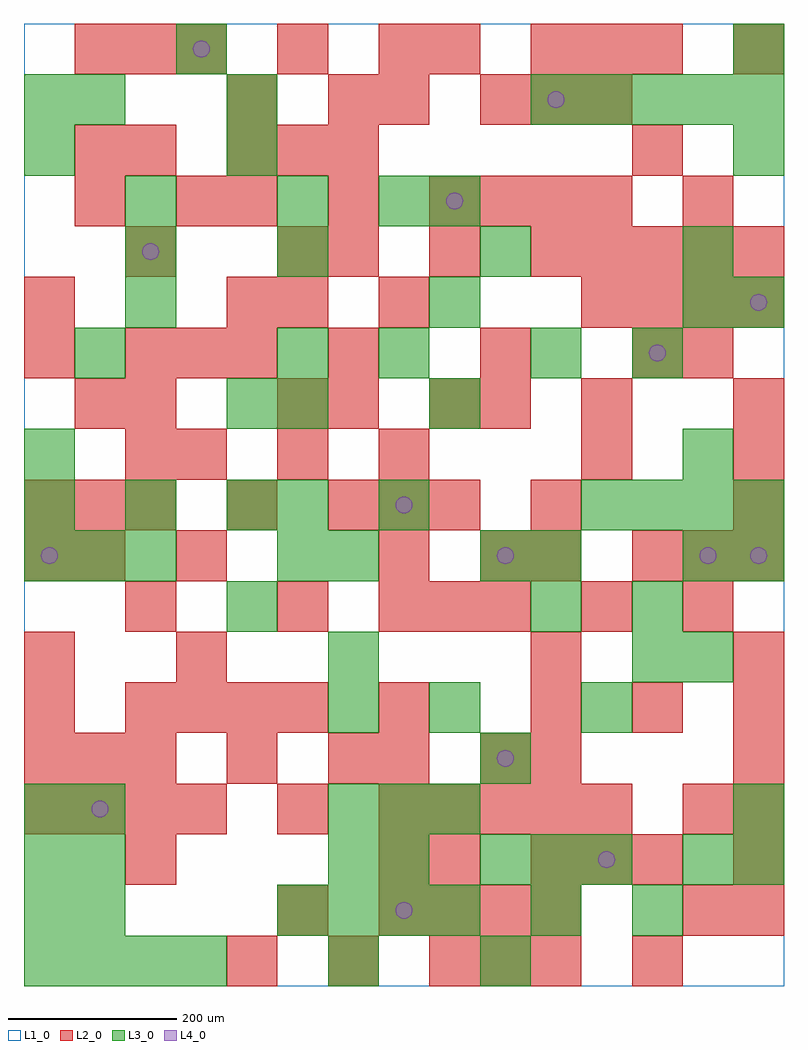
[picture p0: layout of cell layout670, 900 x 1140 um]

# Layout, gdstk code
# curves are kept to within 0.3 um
import gdstk
lib = gdstk.Library(unit=1e-6, precision=1e-09)
def R(c, l, rs):  # rectangles x0, y0, x1, y1
    for r in rs: c.add(gdstk.rectangle(r[:2], r[2:], *l))
def A(c, l, x, y, w, h, nx, ny, dx, dy):  # array of equal rectangles
    R(c, l, [(x+i*dx, y+j*dy, x+i*dx+w, y+j*dy+h) for i in range(nx) for j in range(ny)])
def P(c, l, *ps):  # polygons
    for p in ps: c.add(gdstk.Polygon(p, *l))
L1_0 = (1, 0)
L2_0 = (2, 0)
L3_0 = (3, 0)
L4_0 = (4, 0)

layout670 = lib.new_cell('layout670')
R(layout670, L1_0, [(0,0,900,1140)])
A(layout670, L2_0, 240, 0, 60, 60, 3, 2, 120, 900)
A(layout670, L2_0, 540, 0, 60, 60, 1, 3, 0, 240)
A(layout670, L2_0, 420, 60, 60, 60, 4, 1, 60, 0)
A(layout670, L2_0, 840, 60, 60, 60, 1, 4, 0, 60)
A(layout670, L2_0, 600, 120, 60, 60, 3, 2, 60, 960)
A(layout670, L2_0, 0, 180, 60, 60, 4, 1, 60, 0)
A(layout670, L2_0, 300, 180, 60, 60, 1, 3, 0, 240)
A(layout670, L2_0, 420, 180, 60, 60, 5, 1, 60, 0)
A(layout670, L2_0, 0, 240, 60, 60, 3, 2, 60, 300)
A(layout670, L2_0, 600, 240, 60, 60, 1, 3, 0, 120)
A(layout670, L2_0, 120, 300, 60, 60, 4, 1, 60, 0)
A(layout670, L2_0, 600, 300, 60, 60, 3, 1, 120, 0)
A(layout670, L2_0, 420, 420, 60, 60, 3, 1, 60, 0)
A(layout670, L2_0, 720, 480, 60, 60, 3, 1, 60, 0)
A(layout670, L2_0, 240, 540, 60, 60, 1, 3, 0, 240)
A(layout670, L2_0, 360, 540, 60, 60, 3, 1, 60, 0)
A(layout670, L2_0, 840, 540, 60, 60, 1, 3, 0, 60)
A(layout670, L2_0, 180, 600, 60, 60, 3, 1, 120, 0)
A(layout670, L2_0, 120, 720, 60, 60, 3, 1, 60, 0)
A(layout670, L2_0, 360, 720, 60, 60, 3, 1, 180, 0)
A(layout670, L2_0, 660, 780, 60, 60, 4, 2, 60, 60)
A(layout670, L2_0, 360, 840, 60, 60, 3, 1, 120, 0)
A(layout670, L2_0, 540, 900, 60, 60, 3, 2, 60, 120)
A(layout670, L2_0, 240, 960, 60, 60, 3, 1, 60, 0)
A(layout670, L2_0, 60, 1080, 60, 60, 3, 1, 60, 0)
R(layout670, L2_0, [(600,0,660,60), (720,0,780,60), (300,60,360,120), (780,60,840,120), (120,120,180,180), (420,120,480,180), (480,120,540,180), (780,180,840,240), (240,240,300,300), (360,240,420,300), (420,240,480,300), (0,300,60,360), (420,300,480,360), (0,360,60,420), (180,360,240,420), (840,360,900,420), (120,420,180,480), (660,420,720,480), (780,420,840,480), (0,480,60,540), (60,480,120,540), (180,480,240,540), (420,480,480,540), (600,540,660,600), (120,600,180,660), (660,600,720,660), (60,660,120,720), (120,660,180,720), (360,660,420,720), (480,660,540,720), (540,660,600,720), (660,660,720,720), (0,720,60,780), (780,720,840,780), (0,780,60,840), (300,780,360,840), (420,780,480,840), (120,840,180,900), (300,840,360,900), (60,900,120,960), (180,900,240,960), (780,900,840,960), (60,960,120,1020), (120,960,180,1020), (720,960,780,1020), (360,1020,420,1080), (420,1020,480,1080), (300,1080,360,1140), (420,1080,480,1140), (480,1080,540,1140), (840,1080,900,1140)])
A(layout670, L3_0, 0, 0, 60, 60, 4, 1, 60, 0)
A(layout670, L3_0, 540, 0, 60, 60, 1, 3, 0, 240)
A(layout670, L3_0, 0, 60, 60, 60, 1, 3, 0, 60)
A(layout670, L3_0, 60, 60, 60, 60, 1, 3, 0, 60)
A(layout670, L3_0, 300, 60, 60, 60, 4, 1, 60, 0)
A(layout670, L3_0, 540, 120, 60, 60, 3, 1, 60, 0)
A(layout670, L3_0, 360, 180, 60, 60, 3, 1, 60, 0)
A(layout670, L3_0, 840, 180, 60, 60, 1, 3, 0, 300)
A(layout670, L3_0, 780, 360, 60, 60, 1, 3, 0, 120)
A(layout670, L3_0, 0, 480, 60, 60, 3, 1, 60, 0)
A(layout670, L3_0, 0, 540, 60, 60, 3, 1, 120, 0)
A(layout670, L3_0, 420, 540, 60, 60, 1, 3, 0, 180)
A(layout670, L3_0, 660, 540, 60, 60, 4, 1, 60, 0)
A(layout670, L3_0, 480, 660, 60, 60, 1, 3, 0, 120)
A(layout670, L3_0, 120, 780, 60, 60, 1, 3, 0, 60)
A(layout670, L3_0, 300, 840, 60, 60, 3, 1, 240, 0)
A(layout670, L3_0, 600, 1020, 60, 60, 5, 1, 60, 0)
R(layout670, L3_0, [(360,0,420,60), (600,60,660,120), (720,60,780,120), (360,120,420,180), (420,120,480,180), (780,120,840,180), (840,120,900,180), (360,300,420,360), (480,300,540,360), (660,300,720,360), (360,360,420,420), (720,360,780,420), (240,420,300,480), (600,420,660,480), (720,420,780,480), (300,480,360,540), (360,480,420,540), (600,480,660,540), (300,540,360,600), (0,600,60,660), (240,660,300,720), (300,660,360,720), (60,720,120,780), (300,720,360,780), (600,720,660,780), (720,720,780,780), (780,780,840,840), (300,900,360,960), (0,960,60,1020), (240,960,300,1020), (840,960,900,1020), (0,1020,60,1080), (60,1020,120,1080), (240,1020,300,1080), (180,1080,240,1140), (840,1080,900,1140)])
P(layout670, L4_0, [(40,510),(39.239,513.827),(37.071,517.071),(33.827,519.239),(30,520),(26.173,519.239),(22.929,517.071),(20.761,513.827),(20,510),(20.761,506.173),(22.929,502.929),(26.173,500.761),(30,500),(33.827,500.761),(37.071,502.929),(39.239,506.173)],
  [(100,210),(99.239,213.827),(97.071,217.071),(93.827,219.239),(90,220),(86.173,219.239),(82.929,217.071),(80.761,213.827),(80,210),(80.761,206.173),(82.929,202.929),(86.173,200.761),(90,200),(93.827,200.761),(97.071,202.929),(99.239,206.173)],
  [(160,870),(159.239,873.827),(157.071,877.071),(153.827,879.239),(150,880),(146.173,879.239),(142.929,877.071),(140.761,873.827),(140,870),(140.761,866.173),(142.929,862.929),(146.173,860.761),(150,860),(153.827,860.761),(157.071,862.929),(159.239,866.173)],
  [(220,1110),(219.239,1113.827),(217.071,1117.071),(213.827,1119.239),(210,1120),(206.173,1119.239),(202.929,1117.071),(200.761,1113.827),(200,1110),(200.761,1106.173),(202.929,1102.929),(206.173,1100.761),(210,1100),(213.827,1100.761),(217.071,1102.929),(219.239,1106.173)],
  [(460,90),(459.239,93.827),(457.071,97.071),(453.827,99.239),(450,100),(446.173,99.239),(442.929,97.071),(440.761,93.827),(440,90),(440.761,86.173),(442.929,82.929),(446.173,80.761),(450,80),(453.827,80.761),(457.071,82.929),(459.239,86.173)],
  [(460,570),(459.239,573.827),(457.071,577.071),(453.827,579.239),(450,580),(446.173,579.239),(442.929,577.071),(440.761,573.827),(440,570),(440.761,566.173),(442.929,562.929),(446.173,560.761),(450,560),(453.827,560.761),(457.071,562.929),(459.239,566.173)],
  [(520,930),(519.239,933.827),(517.071,937.071),(513.827,939.239),(510,940),(506.173,939.239),(502.929,937.071),(500.761,933.827),(500,930),(500.761,926.173),(502.929,922.929),(506.173,920.761),(510,920),(513.827,920.761),(517.071,922.929),(519.239,926.173)],
  [(580,270),(579.239,273.827),(577.071,277.071),(573.827,279.239),(570,280),(566.173,279.239),(562.929,277.071),(560.761,273.827),(560,270),(560.761,266.173),(562.929,262.929),(566.173,260.761),(570,260),(573.827,260.761),(577.071,262.929),(579.239,266.173)],
  [(580,510),(579.239,513.827),(577.071,517.071),(573.827,519.239),(570,520),(566.173,519.239),(562.929,517.071),(560.761,513.827),(560,510),(560.761,506.173),(562.929,502.929),(566.173,500.761),(570,500),(573.827,500.761),(577.071,502.929),(579.239,506.173)],
  [(640,1050),(639.239,1053.827),(637.071,1057.071),(633.827,1059.239),(630,1060),(626.173,1059.239),(622.929,1057.071),(620.761,1053.827),(620,1050),(620.761,1046.173),(622.929,1042.929),(626.173,1040.761),(630,1040),(633.827,1040.761),(637.071,1042.929),(639.239,1046.173)],
  [(700,150),(699.239,153.827),(697.071,157.071),(693.827,159.239),(690,160),(686.173,159.239),(682.929,157.071),(680.761,153.827),(680,150),(680.761,146.173),(682.929,142.929),(686.173,140.761),(690,140),(693.827,140.761),(697.071,142.929),(699.239,146.173)],
  [(760,750),(759.239,753.827),(757.071,757.071),(753.827,759.239),(750,760),(746.173,759.239),(742.929,757.071),(740.761,753.827),(740,750),(740.761,746.173),(742.929,742.929),(746.173,740.761),(750,740),(753.827,740.761),(757.071,742.929),(759.239,746.173)],
  [(820,510),(819.239,513.827),(817.071,517.071),(813.827,519.239),(810,520),(806.173,519.239),(802.929,517.071),(800.761,513.827),(800,510),(800.761,506.173),(802.929,502.929),(806.173,500.761),(810,500),(813.827,500.761),(817.071,502.929),(819.239,506.173)],
  [(880,510),(879.239,513.827),(877.071,517.071),(873.827,519.239),(870,520),(866.173,519.239),(862.929,517.071),(860.761,513.827),(860,510),(860.761,506.173),(862.929,502.929),(866.173,500.761),(870,500),(873.827,500.761),(877.071,502.929),(879.239,506.173)],
  [(880,810),(879.239,813.827),(877.071,817.071),(873.827,819.239),(870,820),(866.173,819.239),(862.929,817.071),(860.761,813.827),(860,810),(860.761,806.173),(862.929,802.929),(866.173,800.761),(870,800),(873.827,800.761),(877.071,802.929),(879.239,806.173)])

lib.write_gds('layout670.gds')
